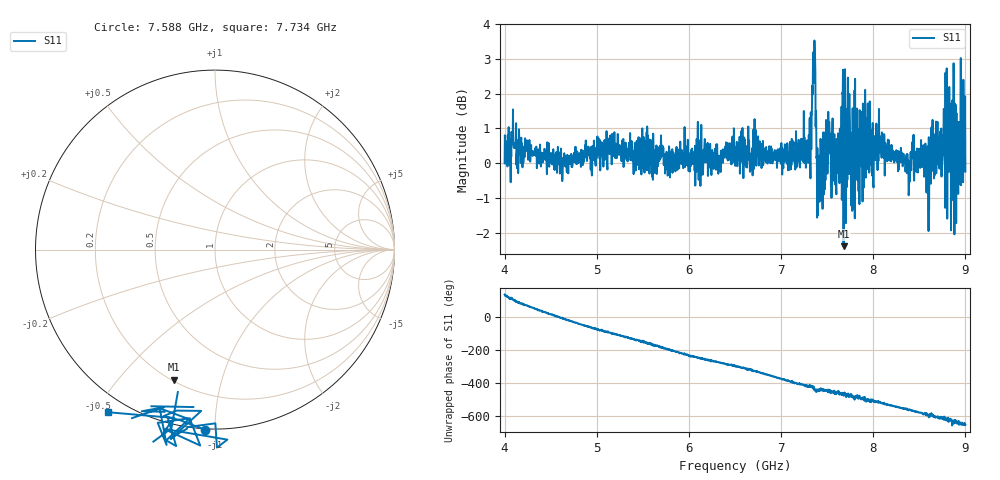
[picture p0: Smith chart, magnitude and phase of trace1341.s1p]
! Created with skrf 1.8.0 (http://scikit-rf.org).
# Hz S RI R 50.0
!freq ReS11 ImS11
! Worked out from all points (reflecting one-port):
!   1601 points, 4 GHz to 9 GHz, reference 50 ohm
!   lowest |S11| = -2.4 dB at 7.678 GHz (marker M1), VSWR 7.32, Z = 10.4 - j35.6 ohm
!   phase of S11 starts at 136 deg and turns -787 deg over the sweep
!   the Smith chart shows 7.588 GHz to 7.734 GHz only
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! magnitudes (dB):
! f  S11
! 4 GHz  0.0
! 4.1 GHz  0.4
! 4.625 GHz  -0.5
! 5.25 GHz  0.5
! 5.875 GHz  -0.2
! 6.5 GHz  0.4
! 7.125 GHz  0.5
! 7.294 GHz  0.0
! 7.356 GHz  3.2
! 7.4 GHz  0.2
! 7.412 GHz  -0.6
! 7.512 GHz  1.5
! 7.591 GHz  -0.3
! 7.678 GHz  -2.4
! 7.75 GHz  0.0
! 7.775 GHz  1.6
! 7.8 GHz  -1.6
! 7.928 GHz  1.3
! 7.981 GHz  0.1
! 8.088 GHz  0.3
! 8.375 GHz  -0.3
! 8.441 GHz  -0.4
! 8.603 GHz  0.7
! 8.656 GHz  0.8
! 8.809 GHz  2.0
! 8.856 GHz  -1.1
! 8.972 GHz  0.7
! 9 GHz  -0.2
